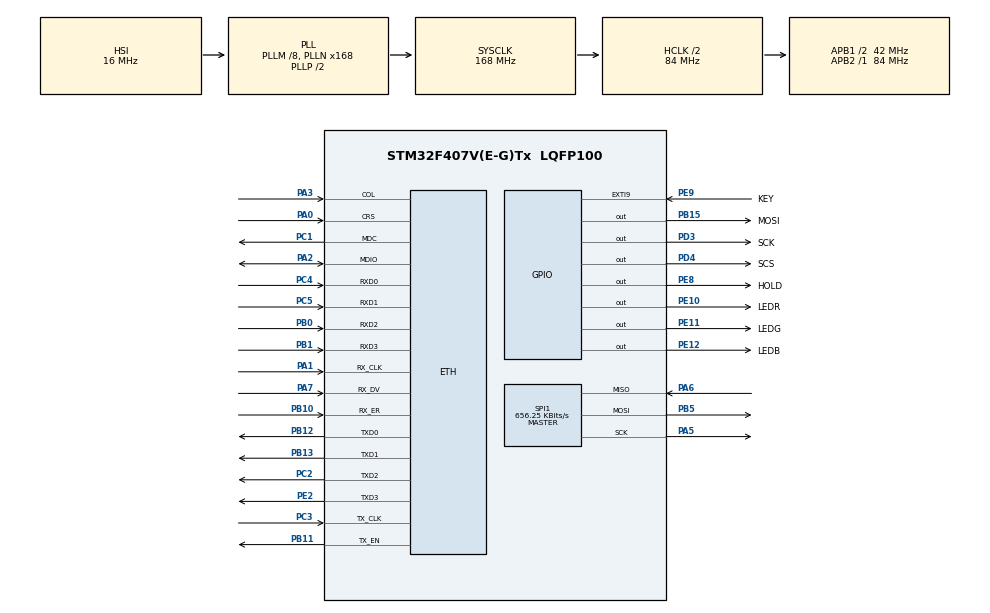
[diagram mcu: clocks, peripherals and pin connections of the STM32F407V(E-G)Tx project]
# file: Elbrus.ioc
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Mcu.Family=STM32F4
PC3.Mode=MII
LWIP.MEMP_NUM_TCPIP_MSG_API=1
PA6.Mode=Full_Duplex_Master
PE8.PinState=GPIO_PIN_SET
RCC.CortexFreq_Value=84000000
SPI1.VirtualType=VM_MASTER
PB10.Mode=Activate Rx Err signal
PE11.GPIO_Label=LEDG
LWIP.IP_REASSEMBLY=0
PE8.GPIO_PuPd=GPIO_PULLUP
PE10.GPIO_PuPd=GPIO_NOPULL
PC5.Mode=MII
PB11.Signal=ETH_TX_EN
PB13.Signal=ETH_TXD1
PB15.Signal=GPIO_Output
PD3.GPIO_Speed=GPIO_SPEED_FREQ_HIGH
LWIP.CHECKSUM_GEN_ICMP=1
PB15.PinState=GPIO_PIN_SET
RCC.SYSCLKSource=RCC_SYSCLKSOURCE_PLLCLK
ProjectManager.StackSize=0x400
LWIP.NETMASK_ADDRESS=255.255.255.000
LWIP.MEMP_NUM_NETCONN=1
SPI1.Direction=SPI_DIRECTION_2LINES
RCC.HCLKFreq_Value=84000000
PE2.Mode=MII
PD4.Signal=GPIO_Output
RCC.APB2TimFreq_Value=84000000
SPI1.CalculateBaudRate=656.25 KBits/s
PC3.Signal=ETH_TX_CLK
PB15.GPIO_ModeDefaultOutputPP=GPIO_MODE_OUTPUT_PP
LWIP.MEMP_NUM_REASSDATA=100
RCC.AHBFreq_Value=84000000
LWIP.MEMP_NUM_SYS_TIMEOUT=8
RCC.HSE_VALUE=25000000
LWIP.LWIP_SNMP=0
LWIP.UDP_TTL=128
LWIP.LWIP_TCP=0
PA6.GPIO_PuPd=GPIO_PULLUP
LWIP.MEMP_NUM_TCP_PCB_LISTEN=0
PE9.Signal=GPXTI9
PA5.GPIO_PuPd=GPIO_PULLUP
PB5.Mode=Full_Duplex_Master
SPI1.DataSize=SPI_DATASIZE_16BIT
PD4.GPIO_ModeDefaultOutputPP=GPIO_MODE_OUTPUT_PP
PE2.Signal=ETH_TXD3
ETH.PHY_RESET_DELAY=0xff
PE10.Signal=GPIO_Output
Mcu.Package=LQFP100
PB1.Signal=ETH_RXD3
PA6.Signal=SPI1_MISO
PB12.Mode=MII
PB15.GPIO_PuPd=GPIO_PULLUP
LWIP.IP_FRAG=0
PE12.GPIO_Label=LEDB
RCC.APB1TimFreq_Value=84000000
PE8.GPIO_ModeDefaultOutputPP=GPIO_MODE_OUTPUT_PP
PC5.Signal=ETH_RXD1
PD3.GPIO_Label=SCK
PB13.Mode=MII
PE10.GPIO_Label=LEDR
SPI1.BaudRatePrescaler=SPI_BAUDRATEPRESCALER_128
LWIP.PBUF_POOL_SIZE=16
PC4.Mode=MII
LWIP.IP_ADDRESS=192.168.001.010
PA3.Signal=ETH_COL
PA5.Mode=Full_Duplex_Master
ETH.AutoNegotiation=ETH_AUTONEGOTIATION_DISABLE
LWIP.IP_DEFAULT_TTL=128
LWIP.MEMP_NUM_TCP_SEG=0
PA7.Mode=MII
PE11.GPIO_Speed=GPIO_SPEED_FREQ_VERY_HIGH
LWIP.MEMP_NUM_RAW_PCB=0
PD3.Signal=GPIO_Output
LWIP.MEMP_NUM_FRAG_PBUF=100
PC4.Signal=ETH_RXD0
PC2.Signal=ETH_TXD2
LWIP.ARP_TABLE_SIZE=50
PC2.Mode=MII
LWIP.LWIP_DHCP=0
RCC.APB1CLKDivider=RCC_HCLK_DIV2
PA0-WKUP.Signal=ETH_CRS
VP_LWIP_VS_Enabled.Mode=Enabled
LWIP.GATEWAY_ADDRESS=192.168.001.011
PA0-WKUP.Mode=MII
LWIP.MEMP_NUM_UDP_PCB=1
PA3.Mode=MII
PD4.PinState=GPIO_PIN_SET
LWIP.CHECKSUM_GEN_UDP=1
PD4.GPIO_PuPd=GPIO_PULLUP
LWIP.MEMP_NUM_ARP_QUEUE=100
LWIP.PBUF_POOL_BUFSIZE=1024
PB11.Mode=MII
ProjectManager.TargetToolchain=STM32CubeIDE
PE8.GPIO_Label=HOLD
PE11.Signal=GPIO_Output
RCC.LSE_VALUE=32768
PE9.GPIO_Label=KEY
PA1.Signal=ETH_RX_CLK
PB10.Signal=ETH_RX_ER
PA5.Signal=SPI1_SCK
PB0.Mode=MII
board=custom
RCC.VCOOutputFreq_Value=336000000
LWIP.MEMP_NUM_PBUF=1
NVIC.SPI1_IRQn=true\:0\:0\:false\:false\:true\:true\:true
RCC.APB2Freq_Value=84000000
PA1.Mode=MII
LWIP.MEMP_NUM_TCP_PCB=0
LWIP.MEMP_NUM_NETBUF=1
PB15.GPIO_Label=MOSI
PE8.Signal=GPIO_Output
SPI1.Mode=SPI_MODE_MASTER
PD4.GPIO_Label=SCS
PD4.GPIO_Speed=GPIO_SPEED_FREQ_HIGH
PB15.GPIO_Speed=GPIO_SPEED_FREQ_VERY_HIGH
RCC.AHBCLKDivider=RCC_SYSCLK_DIV2
Mcu.Name=STM32F407V(E-G)Tx
PE12.Signal=GPIO_Output
PA2.Signal=ETH_MDIO
RCC.48MHZClocksFreq_Value=84000000
RCC.SYSCLKFreq_VALUE=168000000
PB5.Signal=SPI1_MOSI
ETH.MediaInterface=ETH_MEDIA_INTERFACE_MII
LWIP.ARP_QUEUE_LEN=100
NVIC.EXTI9_5_IRQn=true\:0\:0\:false\:false\:true\:true\:true
ProjectManager.HeapSize=0x200
PB1.Mode=MII
LWIP.Version=v2.1.2_Cube
RCC.HSI_VALUE=16000000
NVIC.PriorityGroup=NVIC_PRIORITYGROUP_4
RCC.PLLM=8
RCC.PLLN=168
PA2.Mode=MII
PE9.GPIO_ModeDefaultEXTI=GPIO_MODE_IT_RISING_FALLING
RCC.APB1Freq_Value=42000000
PB0.Signal=ETH_RXD2
LWIP.ARP_QUEUEING=1
PC1.Signal=ETH_MDC
PB12.Signal=ETH_TXD0
PC1.Mode=MII
PA7.Signal=ETH_RX_DV
PE9.GPIO_PuPd=GPIO_PULLUP

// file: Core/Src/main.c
/* USER CODE BEGIN Header */
/**
  ******************************************************************************
  * @file           : main.c
  * @brief          : Main program body
  ******************************************************************************
  * @attention
  *
  * <h2><center>&copy; Copyright (c) 2021 STMicroelectronics.
  * All rights reserved.</center></h2>
  *
  * This software component is licensed by ST under BSD 3-Clause license,
  * the "License"; You may not use this file except in compliance with the
  * License. You may obtain a copy of the License at:
  *                        opensource.org/licenses/BSD-3-Clause
  *
  ******************************************************************************
  */
/* USER CODE END Header */
#include "main.h"
#include "lwip.h"

/* USER CODE BEGIN PTD */
typedef enum {false, true} bool;
/* USER CODE END PTD */

/* USER CODE BEGIN PD */
#define MSB 1U
#define LSB 0U
#define ENCODER_CHANGING_DIRECTLY 0U // Прямой режим смены энкодера (сдвиг нуля в переменной "EncoderPointer" от младшего к старшему биту)
#define ENCODER_CHANGING_REVERSELY 1U // Обратный режим смены энкодера (сдвиг нуля в переменной "EncoderPointer" от старшего к младшему биту)
// НАЧАЛО Главных настроек энкодеров
#define QUANTITY_OF_ENCODERS 16U // Количество энкодеров
#define ENCODER_RESOLUTION 12U // Разрешение энкодера
// КОНЕЦ Главных настроек энкодеров
// НАЧАЛО настроек сдвиговых регистров
#define CLOCK_POLARITY 0U // Полярность сигнала SCK (Если 0, то первоначальное состояние - LOW. Если 1, то первоначальное состояние - HIGH);
#define CLOCK_PHASE 0U // Фазовый сдвиг сигнала SCK (Если 0, то передача бита осуществляется одновременно с изменением полярности SCK. Если 1, то сначала передаётся бит, потом меняется полярность SCK);
#define BIT_DIRECTION MSB // Порядок передачи битов в сдвиговый регистр. Если MSB, то передача данных начинается со старшего бита. Если LSB, то с младшего;
#define ENCODER_CHANGING_MODE ENCODER_CHANGING_DIRECTLY // Режим смены энкодера
#define QUANTITY_OF_ITERS_FOR_CLK_SIGNAL QUANTITY_OF_ENCODERS*2U // Количество итераций для смены сигнала CLK при установке сдвиговых регистров
// КОНЕЦ настроек сдвиговых регистров
#define ENCODER_DUMMY_BITS ENCODER_RESOLUTION < 16U ? 16U - ENCODER_RESOLUTION : 0U // Если разрешение энкодера меньше 16 бит, тогда количество лишних бит с энкодера = 16 - разрешение энкодера;
//																					в противном случае количество лишних бит с энкодера = 0
/* USER CODE END PD */

SPI_HandleTypeDef hspi1;

/* USER CODE BEGIN PV */
volatile uint16_t EncoderPointer = 0xFFFE; // Переменная для выбора энкодера. Изначально выбран первый энкодер
bool notdummy; // Изменение полярности сигнала SCK без отправки бита в сдвиговый регистр
volatile uint16_t encData[QUANTITY_OF_ENCODERS] = {0};
extern volatile uint32_t sysTickCount;
short FROM_CONT[160];
short TO_CONT[160];

/* USER CODE END PV */

void SystemClock_Config(void);
static void MX_GPIO_Init(void);
static void MX_SPI1_Init(void);

/* USER CODE BEGIN 0 */

// Метод "SPI_Receive" считывает 16 бит данных в буфер с помощью аппаратного SPI
void SPI_Receive(uint16_t *data/*, uint32_t size*/)
{
	SPI1->CR1 &= ~(1<<6); // Деактивируем аппаратный SPI
	while (((SPI1->SR) & (1<<7))) {};  // Ждём, пока аппаратный SPI не завершит задачу
	SPI1->CR1 |= (1<<6); // Активируем аппаратный SPI
	while (((SPI1->SR) & (1<<7))) {};  // Ждём, пока аппаратный SPI не завершит задачу
	//while (size) {
		SPI1->DR = 0;  // Отправляем пустые данные
		while (((SPI1->SR) & (1<<7))) {};  // Ждём, пока аппаратный SPI не завершит задачу
		*data++ = (SPI1->DR); // Записываем полученные данные в буфер "data"
		while (((SPI1->SR) & (1<<7))) {};  // Ждём, пока аппаратный SPI не завершит задачу
		//size--;
	//}
	SPI1->CR1 &= ~(1<<6); // Деактивируем аппаратный SPI
	while (((SPI1->SR) & (1<<7))) {};  // Ждём, пока аппаратный SPI не завершит задачу
}

// Метод "SetPinToStateOfLastBit" передаёт крайний бит переменной EncoderPtr в входной пин сдвигового регистра
void SetPinToStateOfLastBit(uint16_t EncoderPtr) {
#if BIT_DIRECTION == MSB
		if ((EncoderPtr & 0x8000) == 0x8000) {
			HAL_GPIO_WritePin(GPIOB, GPIO_PIN_15, GPIO_PIN_SET);
		} else {
			HAL_GPIO_WritePin(GPIOB, GPIO_PIN_15, GPIO_PIN_RESET);
		}
		EncoderPtr <<= 1;
//		encCntTmp ^= 1;
#elif BIT_DIRECTION == LSB
		if ((EncoderPtr & 1) == 1) {
			HAL_GPIO_WritePin(GPIOB, GPIO_PIN_15, GPIO_PIN_SET);
		} else {
			HAL_GPIO_WritePin(GPIOB, GPIO_PIN_15, GPIO_PIN_RESET);
		}
		EncoderPtr >>= 1;
//		encCntTmp ^= 0x8000;
#endif
}

// Метод "ChangeEncoder" меняет значение переменной "EncoderPointer" для выбора следующего энкодера
void ChangeEncoder(/*bool reverse*/) {
#if ENCODER_CHANGING_MODE == ENCODER_CHANGING_DIRECTLY // Если выбран прямой режим смены энкодера (от младшего к старшему биту)
//		if (EncoderCount == 0x7FFF) { // Если 0 в старшем разряд, то переносим его из старшего в младший разряд
//			EncoderCount = 0xFFFE;
//		} else { // иначе сдвигаем 0 влево и устанавливаем 1 в младший разряд
			EncoderPointer <<= 1;
			EncoderPointer |= 1;
//		}
#elif ENCODER_CHANGING_MODE == ENCODER_CHANGING_REVERSELY // Если выбран обратный режим смены энкодера (от старшего к младшему биту)
//		if (EncoderCount == 0xFFFE) { // Если 0 в младшем разряде, то переносим его из младшего в старший разряд
//			EncoderCount = 0x7FFF;
//		} else { // иначе сдвигаем 0 вправо и устанавливаем 1 в старший разряд
			EncoderPointer >>= 1;
			EncoderPointer |= 0x8000;
//		}
#endif
}
// Метод "SetShiftRegisters" устанавливает значение переменной EncoderPointer в сдвиговые регистры для выбора энкодера, с которого будет считано значение
void SetShiftRegisters() {
#if CLOCK_PHASE == 0U
		notdummy = true; // Первый бит передаётся одновременно с изменением полярности сигнала SCK
#else
		notdummy = false; // Передаём сначала бит, потом меняем полярность сигнала SCK
#endif
	uint8_t bits = 0; // Количество бит, отправляемых на сдвиговые регистры
#if CLOCK_PHASE > 0U
	bool firstTick = true; // Переменная, определяющая нулевую итерацию цикла
#endif
	HAL_GPIO_WritePin(GPIOD, GPIO_PIN_4, GPIO_PIN_RESET); // 12-тые пины микросхем(защелка) сдвиговых регистров устанавливаем в LOW
#if CLOCK_POLARITY == 0U
			HAL_GPIO_WritePin(GPIOD, GPIO_PIN_3, GPIO_PIN_RESET); // Устанавливаем SCK в LOW
#else
			HAL_GPIO_WritePin(GPIOD, GPIO_PIN_3, GPIO_PIN_SET); // Устанавливаем SCK в HIGH
#endif
		do { // Начало цикла
#if CLOCK_PHASE == 0U
				if (notdummy) {
					SetPinToStateOfLastBit(EncoderPointer); // Передаём бит одновременно с изменением полярности сигнала SCK
				}
				notdummy = !notdummy;
				HAL_GPIO_TogglePin(GPIOD, GPIO_PIN_3); // Изменяем полярность сигнала SCK
#else
				if (firstTick) { // Если нулевой цикл, то передаём бит без изменения полярности сигнала SCK
					SetPinToStateOfLastBit(EncoderPointer);
					firstTick = false;
				} else { // Если не нулевой цикл, то сначала меняем полярность SCK без передачи бита. Далее снова меняем полярность SCK и одновременно передаём бит
					if (notdummy) {
						SetPinToStateOfLastBit(EncoderPointer);
					}
					notdummy = !notdummy;
					HAL_GPIO_TogglePin(GPIOD, GPIO_PIN_3); // Изменяем полярность сигнала SCK
				}
			}
#endif
			bits++;
		} while (bits < QUANTITY_OF_ITERS_FOR_CLK_SIGNAL); // Цикл на каждое изменение состояния SCK сигнала
#if CLOCK_POLARITY == 0U
			HAL_GPIO_WritePin(GPIOD, GPIO_PIN_3, GPIO_PIN_RESET); // Устанавливаем SCK в LOW
#else
			HAL_GPIO_WritePin(GPIOD, GPIO_PIN_3, GPIO_PIN_SET); // Устанавливаем SCK в HIGH
#endif
			HAL_GPIO_WritePin(GPIOD, GPIO_PIN_4, GPIO_PIN_SET); // Подаём положительный импульс на 12-тые пины микросхем сдвиговых регистров
			for (uint8_t w = 0; w < 255; w++); // Ждём короткое время
			HAL_GPIO_WritePin(GPIOD, GPIO_PIN_4, GPIO_PIN_RESET); // Сбрасываем положительный импульс на 12-тых пинах микросхем сдвиговых регистров
}

uint16_t GetCurrentEncoderData() {
	uint16_t tmpdata = 0; // Данные с энкодера
	SPI_Receive((uint16_t*)&tmpdata);
	tmpdata >>= ENCODER_DUMMY_BITS; // Убираем лишние биты в младших разрядах
	return tmpdata; // Возвращаем полученные данные
}

void CollectDataFromEncoders() {
	EncoderPointer = 0xFFFE; // Выбор первого энкодера для считывания значения с него
	uint8_t cycles;
#if QUANTITY_OF_ENCODERS <= 32U
		cycles = QUANTITY_OF_ENCODERS;
#else
		cycles = 32U; // Защита от выхода указателя за предел массива
#endif
	for (uint8_t i = 0; i < cycles; i++) { // Цикл для каждого энкодера
		SetShiftRegisters(); // Устанавливаем значения CS на энкодеры побитно из переменной "EncoderPointer" при помощи сдвиговых регистров
 		encData[i] = GetCurrentEncoderData(); // Считываем значение с выбранного энкодера
 		FROM_CONT[i+128] = (short)(encData[i]); // Копируем данные с энкодеров в буфер для отправки на UDP порт
		ChangeEncoder(); // Выбираем следующий энкодер
	}
}

/* USER CODE END 0 */

int main(void)
{

  /* MCU Configuration--------------------------------------------------------*/

  /* Reset of all peripherals, Initializes the Flash interface and the Systick. */
  HAL_Init();

  /* Configure the system clock */
  SystemClock_Config();

  /* USER CODE BEGIN SysInit */
  SysTick_Config(SystemCoreClock/1000);
  HAL_GPIO_WritePin(LEDG_GPIO_Port, LEDG_Pin, GPIO_PIN_SET);
  /* USER CODE END SysInit */

  /* Initialize all configured peripherals */
  MX_GPIO_Init();
  MX_SPI1_Init();
  MX_LWIP_Init();
  /* USER CODE BEGIN 2 */
  udp_server_init(HAL_GetTick());
  /* USER CODE END 2 */

  /* Infinite loop */
  while (1)
  {

    /* USER CODE BEGIN 3 */

	MX_LWIP_Process();
	sysTickCount = HAL_GetTick();
	periodic_handler(sysTickCount);

	CollectDataFromEncoders(); // записываем данные со всех энкодеров по порядку в массив EncData[]
  }
  /* USER CODE END 3 */
}

void SystemClock_Config(void)
{
  RCC_OscInitTypeDef RCC_OscInitStruct = {0};
  RCC_ClkInitTypeDef RCC_ClkInitStruct = {0};

  /** Configure the main internal regulator output voltage
  */
  __HAL_RCC_PWR_CLK_ENABLE();
  __HAL_PWR_VOLTAGESCALING_CONFIG(PWR_REGULATOR_VOLTAGE_SCALE1);
  /** Initializes the RCC Oscillators according to the specified parameters
  * in the RCC_OscInitTypeDef structure.
  */
  RCC_OscInitStruct.OscillatorType = RCC_OSCILLATORTYPE_HSI;
  RCC_OscInitStruct.HSIState = RCC_HSI_ON;
  RCC_OscInitStruct.HSICalibrationValue = RCC_HSICALIBRATION_DEFAULT;
  RCC_OscInitStruct.PLL.PLLState = RCC_PLL_ON;
  RCC_OscInitStruct.PLL.PLLSource = RCC_PLLSOURCE_HSI;
  RCC_OscInitStruct.PLL.PLLM = 8;
  RCC_OscInitStruct.PLL.PLLN = 168;
  RCC_OscInitStruct.PLL.PLLP = RCC_PLLP_DIV2;
  RCC_OscInitStruct.PLL.PLLQ = 4;
  if (HAL_RCC_OscConfig(&RCC_OscInitStruct) != HAL_OK)
  {
    Error_Handler();
  }
  /** Initializes the CPU, AHB and APB buses clocks
  */
  RCC_ClkInitStruct.ClockType = RCC_CLOCKTYPE_HCLK|RCC_CLOCKTYPE_SYSCLK
                              |RCC_CLOCKTYPE_PCLK1|RCC_CLOCKTYPE_PCLK2;
  RCC_ClkInitStruct.SYSCLKSource = RCC_SYSCLKSOURCE_PLLCLK;
  RCC_ClkInitStruct.AHBCLKDivider = RCC_SYSCLK_DIV2;
  RCC_ClkInitStruct.APB1CLKDivider = RCC_HCLK_DIV2;
  RCC_ClkInitStruct.APB2CLKDivider = RCC_HCLK_DIV1;

  if (HAL_RCC_ClockConfig(&RCC_ClkInitStruct, FLASH_LATENCY_2) != HAL_OK)
  {
    Error_Handler();
  }
}

static void MX_SPI1_Init(void)
{

  /* SPI1 parameter configuration*/
  hspi1.Instance = SPI1;
  hspi1.Init.Mode = SPI_MODE_MASTER;
  hspi1.Init.Direction = SPI_DIRECTION_2LINES;
  hspi1.Init.DataSize = SPI_DATASIZE_16BIT;
  hspi1.Init.CLKPolarity = SPI_POLARITY_LOW;
  hspi1.Init.CLKPhase = SPI_PHASE_1EDGE;
  hspi1.Init.NSS = SPI_NSS_SOFT;
  hspi1.Init.BaudRatePrescaler = SPI_BAUDRATEPRESCALER_128;
  hspi1.Init.FirstBit = SPI_FIRSTBIT_MSB;
  hspi1.Init.TIMode = SPI_TIMODE_DISABLE;
  hspi1.Init.CRCCalculation = SPI_CRCCALCULATION_DISABLE;
  hspi1.Init.CRCPolynomial = 10;
  if (HAL_SPI_Init(&hspi1) != HAL_OK)
  {
    Error_Handler();
  }

}

static void MX_GPIO_Init(void)
{
  GPIO_InitTypeDef GPIO_InitStruct = {0};

  /* GPIO Ports Clock Enable */
  __HAL_RCC_GPIOE_CLK_ENABLE();
  __HAL_RCC_GPIOC_CLK_ENABLE();
  __HAL_RCC_GPIOA_CLK_ENABLE();
  __HAL_RCC_GPIOB_CLK_ENABLE();
  __HAL_RCC_GPIOD_CLK_ENABLE();

  /*Configure GPIO pin Output Level */
  HAL_GPIO_WritePin(HOLD_GPIO_Port, HOLD_Pin, GPIO_PIN_SET);

  /*Configure GPIO pin Output Level */
  HAL_GPIO_WritePin(GPIOE, LEDR_Pin|LEDG_Pin|LEDB_Pin, GPIO_PIN_RESET);

  /*Configure GPIO pin Output Level */
  HAL_GPIO_WritePin(MOSI_GPIO_Port, MOSI_Pin, GPIO_PIN_SET);

  /*Configure GPIO pin Output Level */
  HAL_GPIO_WritePin(SCK_GPIO_Port, SCK_Pin, GPIO_PIN_RESET);

  /*Configure GPIO pin Output Level */
  HAL_GPIO_WritePin(SCS_GPIO_Port, SCS_Pin, GPIO_PIN_SET);

  /*Configure GPIO pin : HOLD_Pin */
  GPIO_InitStruct.Pin = HOLD_Pin;
  GPIO_InitStruct.Mode = GPIO_MODE_OUTPUT_PP;
  GPIO_InitStruct.Pull = GPIO_PULLUP;
  GPIO_InitStruct.Speed = GPIO_SPEED_FREQ_LOW;
  HAL_GPIO_Init(HOLD_GPIO_Port, &GPIO_InitStruct);

  /*Configure GPIO pin : KEY_Pin */
  GPIO_InitStruct.Pin = KEY_Pin;
  GPIO_InitStruct.Mode = GPIO_MODE_IT_RISING_FALLING;
  GPIO_InitStruct.Pull = GPIO_PULLUP;
  HAL_GPIO_Init(KEY_GPIO_Port, &GPIO_InitStruct);

  /*Configure GPIO pins : LEDR_Pin LEDB_Pin */
  GPIO_InitStruct.Pin = LEDR_Pin|LEDB_Pin;
  GPIO_InitStruct.Mode = GPIO_MODE_OUTPUT_PP;
  GPIO_InitStruct.Pull = GPIO_NOPULL;
  GPIO_InitStruct.Speed = GPIO_SPEED_FREQ_LOW;
  HAL_GPIO_Init(GPIOE, &GPIO_InitStruct);

  /*Configure GPIO pin : LEDG_Pin */
  GPIO_InitStruct.Pin = LEDG_Pin;
  GPIO_InitStruct.Mode = GPIO_MODE_OUTPUT_PP;
  GPIO_InitStruct.Pull = GPIO_NOPULL;
  GPIO_InitStruct.Speed = GPIO_SPEED_FREQ_VERY_HIGH;
  HAL_GPIO_Init(LEDG_GPIO_Port, &GPIO_InitStruct);

  /*Configure GPIO pin : MOSI_Pin */
  GPIO_InitStruct.Pin = MOSI_Pin;
  GPIO_InitStruct.Mode = GPIO_MODE_OUTPUT_PP;
  GPIO_InitStruct.Pull = GPIO_PULLUP;
  GPIO_InitStruct.Speed = GPIO_SPEED_FREQ_VERY_HIGH;
  HAL_GPIO_Init(MOSI_GPIO_Port, &GPIO_InitStruct);

  /*Configure GPIO pin : SCK_Pin */
  GPIO_InitStruct.Pin = SCK_Pin;
  GPIO_InitStruct.Mode = GPIO_MODE_OUTPUT_PP;
  GPIO_InitStruct.Pull = GPIO_NOPULL;
  GPIO_InitStruct.Speed = GPIO_SPEED_FREQ_HIGH;
  HAL_GPIO_Init(SCK_GPIO_Port, &GPIO_InitStruct);

  /*Configure GPIO pin : SCS_Pin */
  GPIO_InitStruct.Pin = SCS_Pin;
  GPIO_InitStruct.Mode = GPIO_MODE_OUTPUT_PP;
  GPIO_InitStruct.Pull = GPIO_PULLUP;
  GPIO_InitStruct.Speed = GPIO_SPEED_FREQ_HIGH;
  HAL_GPIO_Init(SCS_GPIO_Port, &GPIO_InitStruct);

  /* EXTI interrupt init*/
  HAL_NVIC_SetPriority(EXTI9_5_IRQn, 0, 0);
  HAL_NVIC_EnableIRQ(EXTI9_5_IRQn);

}

void Error_Handler(void)
{
  __disable_irq();
  while (1)
  {
  }
}

/************************ (C) COPYRIGHT STMicroelectronics *****END OF FILE****/
